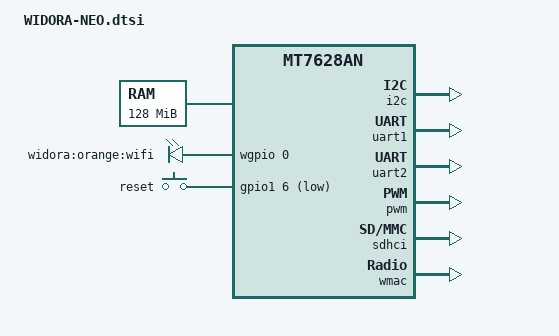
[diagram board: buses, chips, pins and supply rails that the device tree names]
#include "mt7628an.dtsi"

#include <dt-bindings/gpio/gpio.h>
#include <dt-bindings/input/input.h>

/ {
	compatible = "widora,neo", "mediatek,mt7628an-soc";

	aliases {
		led-status = &led_wifi;
	};

	chosen {
		bootargs = "console=ttyS0,115200";
	};

	memory@0 {
		device_type = "memory";
		reg = <0x0 0x8000000>;
	};

	gpio-leds {
		compatible = "gpio-leds";

		led_wifi: wifi {
			label = "widora:orange:wifi";
			gpios = <&wgpio 0 GPIO_ACTIVE_HIGH>;
			default-state = "on";
		};
	};

	gpio-keys-polled {
		compatible = "gpio-keys-polled";
		poll-interval = <20>;

		wps {
			label = "reset";
			gpios = <&gpio1 6 GPIO_ACTIVE_LOW>;
			linux,code = <KEY_WPS_BUTTON>;
		};
	};

	wgpio: gpio-wifi {
		compatible = "mediatek,gpio-wifi";
		#address-cells = <1>;
		#size-cells = <0>;
		gpio-controller;
		#gpio-cells = <2>;
	};
};

&pinctrl {
	state_default: pinctrl0 {
		gpio {
			ralink,group = "gpio";
			ralink,function = "gpio";
		};

		perst {
			ralink,group = "perst";
			ralink,function = "gpio";
		};

		refclk {
			ralink,group = "refclk";
			ralink,function = "gpio";
		};

		i2s {
			ralink,group = "i2s";
			ralink,function = "gpio";
		};

		spis {
			ralink,group = "spis";
			ralink,function = "gpio";
		};

		wled_kn {
			ralink,group = "wled_kn";
			ralink,function = "gpio";
		};

		wled_an {
			ralink,group = "wled_an";
			ralink,function = "wled_an";
		};

		wdt {
			ralink,group = "wdt";
			ralink,function = "gpio";
		};
	};
};

&i2c {
	status = "okay";
};

&uart1 {
	status = "okay";
};

&uart2 {
	status = "okay";
};

&pwm {
	status = "okay";
};

&ethernet {
	mtd-mac-address = <&factory 0x28>;
};

&sdhci {
	status = "okay";
	mediatek,cd-low;
};

&wmac {
	status = "okay";
};
